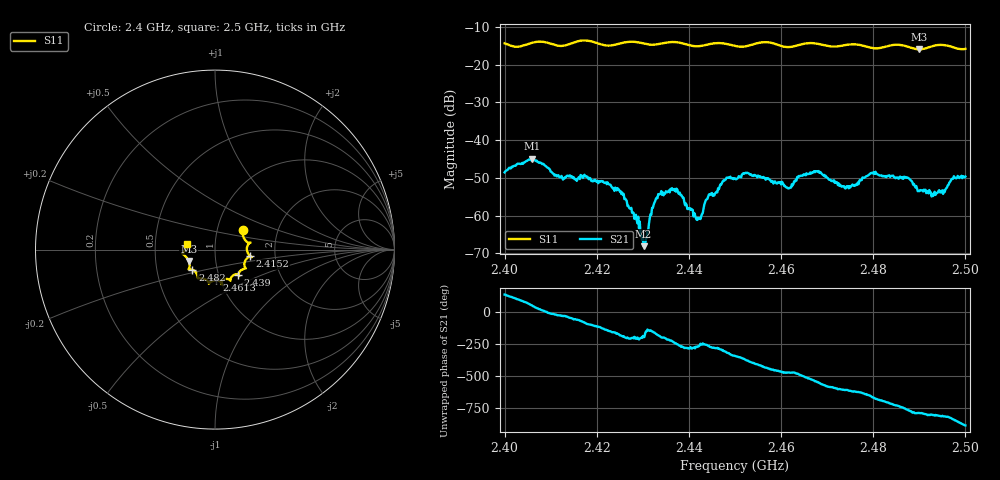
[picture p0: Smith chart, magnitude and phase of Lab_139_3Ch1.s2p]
# Hz S RI R 50
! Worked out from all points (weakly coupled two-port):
!   601 points, 2.4 GHz to 2.5 GHz, reference 50 ohm
!   highest |S21| = -44.92 dB at 2.406 GHz (marker M1); lowest = -68.1 dB at 2.4302 GHz (marker M2)
!   lowest |S11| = -15.9 dB at 2.49 GHz (marker M3), VSWR 1.38, Z = 36.9 - j4.84 ohm
!   |S11| at or under -10 dB: start of sweep to end of sweep
!   S12 and S22 are empty: the file has one direction only
!   S11 on the Smith chart (normalised r, x): 2.4 GHz: 1.33, +0.31; 2.4152 GHz: 1.48, -0.11; 2.439 GHz: 1.24, -0.36; 2.4613 GHz: 0.96, -0.34; 2.482 GHz: 0.76, -0.18; 2.5 GHz: 0.72, +0.05
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2.4e9  0.1563 0.1114  -0.00254 0.00276  0 0  0 0
2.406e9  0.1919 0.0368  0.00391 0.00411  0 0  0 0
2.415167e9  0.1949 -0.0359  0.00154 -0.00262  0 0  0 0
2.416667e9  0.2044 -0.042  0.000825 -0.0033  0 0  0 0
2.425333e9  0.1667 -0.098  -0.00192 0.000283  0 0  0 0
2.428833e9  0.1688 -0.1049  -0.000733 0.000303  0 0  0 0
2.430167e9  0.1573 -0.109  -0.000372 0.000132  0 0  0 0
2.433333e9  0.1328 -0.1324  -0.00192 0.000154  0 0  0 0
2.436833e9  0.1355 -0.1467  -0.00102 0.0019  0 0  0 0
2.439e9  0.1281 -0.1389  0.000385 0.00147  0 0  0 0
2.442167e9  0.0972 -0.1467  2.69e-06 0.000922  0 0  0 0
2.4445e9  0.0849 -0.1673  0.000165 0.00191  0 0  0 0
2.45e9  0.069 -0.1636  0.00303 0.000756  0 0  0 0
2.452667e9  0.0412 -0.1721  0.00343 -0.0014  0 0  0 0
2.461333e9  0.008 -0.1712  -0.00105 -0.00212  0 0  0 0
2.466667e9  -0.0336 -0.1905  -0.00362 -0.000627  0 0  0 0
2.474167e9  -0.0876 -0.1609  -0.000821 0.00229  0 0  0 0
2.482e9  -0.1262 -0.1123  0.00306 0.0013  0 0  0 0
2.483333e9  -0.1393 -0.1103  0.00337 0.000561  0 0  0 0
2.49e9  -0.1465 -0.0639  0.000712 -0.00199  0 0  0 0
2.495e9  -0.1816 -0.0212  -8.92e-05 -0.00217  0 0  0 0
2.5e9  -0.1587 0.0329  -0.00322 -0.000711  0 0  0 0
